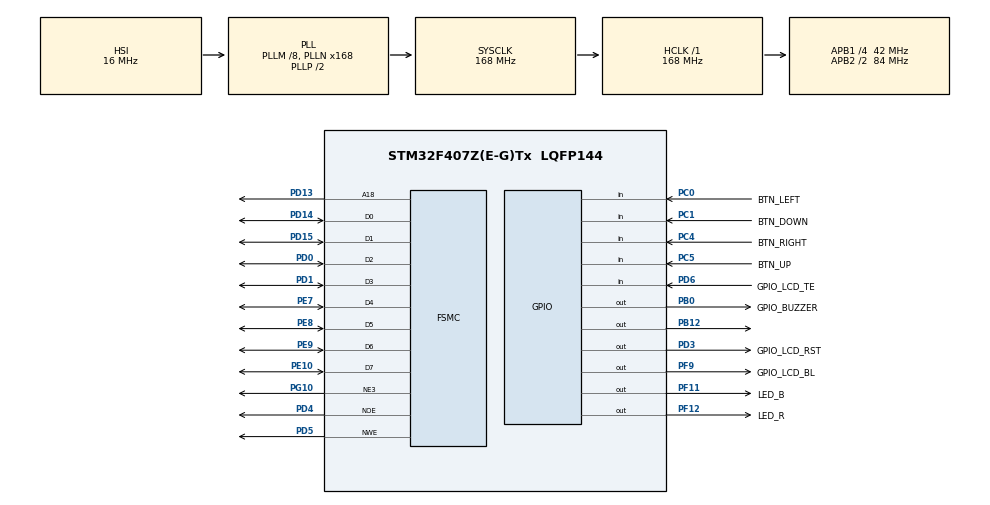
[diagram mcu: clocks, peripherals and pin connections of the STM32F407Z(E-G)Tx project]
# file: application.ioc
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FSMC.BusTurnAroundDuration3=0
FSMC.DataSetupTime3=60
FSMC.ExtendedAddressSetupTime3=9
FSMC.ExtendedBusTurnAroundDuration3=0
FSMC.ExtendedDataSetupTime3=8
FSMC.ExtendedMode3=FSMC_EXTENDED_MODE_ENABLE
Mcu.Family=STM32F4
Mcu.Name=STM32F407Z(E-G)Tx
Mcu.Package=LQFP144
NVIC.PriorityGroup=NVIC_PRIORITYGROUP_4
PA13.Mode=Serial_Wire
PA13.Signal=SYS_JTMS-SWDIO
PA14.Mode=Serial_Wire
PA14.Signal=SYS_JTCK-SWCLK
PB0.GPIO_Label=GPIO_BUZZER
PB0.Signal=GPIO_Output
PB12.GPIO_ModeDefaultOutputPP=GPIO_MODE_OUTPUT_PP
PB12.GPIO_Speed=GPIO_SPEED_FREQ_HIGH
PB12.PinState=GPIO_PIN_SET
PB12.Signal=GPIO_Output
PC0.GPIO_Label=BTN_LEFT
PC0.GPIO_PuPd=GPIO_PULLUP
PC0.Signal=GPIO_Input
PC1.GPIO_Label=BTN_DOWN
PC1.GPIO_PuPd=GPIO_PULLUP
PC1.Signal=GPIO_Input
PC14-OSC32_IN.Mode=LSE-External-Oscillator
PC14-OSC32_IN.Signal=RCC_OSC32_IN
PC15-OSC32_OUT.Mode=LSE-External-Oscillator
PC15-OSC32_OUT.Signal=RCC_OSC32_OUT
PC4.GPIO_Label=BTN_RIGHT
PC4.GPIO_PuPd=GPIO_PULLUP
PC4.Signal=GPIO_Input
PC5.GPIO_Label=BTN_UP
PC5.GPIO_PuPd=GPIO_PULLUP
PC5.Signal=GPIO_Input
PD0.Signal=FSMC_D2_DA2
PD1.Signal=FSMC_D3_DA3
PD13.Signal=FSMC_A18
PD14.Signal=FSMC_D0_DA0
PD15.Signal=FSMC_D1_DA1
PD3.GPIO_Label=GPIO_LCD_RST
PD3.Signal=GPIO_Output
PD4.Signal=FSMC_NOE
PD5.Signal=FSMC_NWE
PD6.GPIO_Label=GPIO_LCD_TE
PD6.Signal=GPIO_Input
PE10.Signal=FSMC_D7_DA7
PE7.Signal=FSMC_D4_DA4
PE8.Signal=FSMC_D5_DA5
PE9.Signal=FSMC_D6_DA6
PF11.GPIO_Label=LED_B
PF11.Signal=GPIO_Output
PF12.GPIO_Label=LED_R
PF12.Signal=GPIO_Output
PF9.GPIO_Label=GPIO_LCD_BL
PF9.Signal=GPIO_Output
PG10.Mode=NorPsramChipSelect3_3
PG10.Signal=FSMC_NE3
PH0-OSC_IN.Mode=HSE-External-Oscillator
PH0-OSC_IN.Signal=RCC_OSC_IN
PH1-OSC_OUT.Mode=HSE-External-Oscillator
PH1-OSC_OUT.Signal=RCC_OSC_OUT
ProjectManager.HeapSize=0x2000
ProjectManager.StackSize=0x1200
ProjectManager.TargetToolchain=CMake
RCC.48MHZClocksFreq_Value=84000000
RCC.AHBFreq_Value=168000000
RCC.APB1CLKDivider=RCC_HCLK_DIV4
RCC.APB1Freq_Value=42000000
RCC.APB1TimFreq_Value=84000000
RCC.APB2CLKDivider=RCC_HCLK_DIV2
RCC.APB2Freq_Value=84000000
RCC.APB2TimFreq_Value=168000000
RCC.CortexFreq_Value=168000000
RCC.HCLKFreq_Value=168000000
RCC.HSE_VALUE=8000000
RCC.HSI_VALUE=16000000
RCC.PLLM=8
RCC.PLLN=168
RCC.SYSCLKFreq_VALUE=168000000
RCC.SYSCLKSource=RCC_SYSCLKSOURCE_PLLCLK
RCC.VCOOutputFreq_Value=336000000
SH.FSMC_A18.0=FSMC_A18,A18_3
SH.FSMC_D0_DA0.0=FSMC_D0,8b-d3
SH.FSMC_D1_DA1.0=FSMC_D1,8b-d3
SH.FSMC_D2_DA2.0=FSMC_D2,8b-d3
SH.FSMC_D3_DA3.0=FSMC_D3,8b-d3
SH.FSMC_D4_DA4.0=FSMC_D4,8b-d3
SH.FSMC_D5_DA5.0=FSMC_D5,8b-d3
SH.FSMC_D6_DA6.0=FSMC_D6,8b-d3
SH.FSMC_D7_DA7.0=FSMC_D7,8b-d3
SH.FSMC_NOE.0=FSMC_NOE,Lcd3
SH.FSMC_NWE.0=FSMC_NWE,Lcd3
TIM2.AutoReloadPreload=TIM_AUTORELOAD_PRELOAD_ENABLE
TIM2.Period=\ 0xFFFFFFFF
TIM2.Prescaler=83
VP_TIM2_VS_ClockSourceINT.Mode=Internal
board=custom

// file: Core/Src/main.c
/* USER CODE BEGIN Header */
/**
 ******************************************************************************
 * @file           : main.c
 * @brief          : Main program body
 ******************************************************************************
 * @attention
 *
 * Copyright (c) 2025 STMicroelectronics.
 * All rights reserved.
 *
 * This software is licensed under terms that can be found in the LICENSE file
 * in the root directory of this software component.
 * If no LICENSE file comes with this software, it is provided AS-IS.
 *
 ******************************************************************************
 */
/* USER CODE END Header */
#include "main.h"
#include "stm32f4xx_hal.h"
#include "stm32f4xx_hal_gpio.h"

/* USER CODE BEGIN Includes */
#include <stdbool.h>
#include <stdint.h>
/* USER CODE END Includes */

/* USER CODE BEGIN PD */
#define AMBULANCE_ALERT_TYPE 0
#define ELECTRONIC_BIKE_ALERT_TYPE 1

/* USER CODE END PD */

TIM_HandleTypeDef htim2;

SRAM_HandleTypeDef hsram3;

void SystemClock_Config(void);
static void MX_GPIO_Init(void);
static void MX_FSMC_Init(void);
static void MX_TIM2_Init(void);

/* USER CODE BEGIN 0 */

static inline bool CredibleKeyState(GPIO_TypeDef *GPIOx, uint16_t GPIO_PIN,
                                    GPIO_PinState state) {
  if (HAL_GPIO_ReadPin(GPIOx, GPIO_PIN) == state) {
    HAL_Delay(1);
    return HAL_GPIO_ReadPin(GPIOx, GPIO_PIN) == state;
  }
  return false;
}
static inline void ambulance_alert(void) {
  uint16_t i = 5000;

  while (i--) {
    HAL_GPIO_WritePin(GPIO_BUZZER_GPIO_Port, GPIO_BUZZER_Pin, GPIO_PIN_SET);
    int j = 0;
    while (j++ < i)
      continue;
    HAL_GPIO_WritePin(GPIO_BUZZER_GPIO_Port, GPIO_BUZZER_Pin, GPIO_PIN_RESET);
    while (j-- > 0)
      continue;
    i--;
  }
}
static inline void electronic_bike_alert(void) {
  uint16_t i = 3000;

  while (i--) {
    HAL_GPIO_WritePin(GPIO_BUZZER_GPIO_Port, GPIO_BUZZER_Pin, GPIO_PIN_SET);
    int j = 0;
    while (j++ < i)
      continue;
    HAL_GPIO_WritePin(GPIO_BUZZER_GPIO_Port, GPIO_BUZZER_Pin, GPIO_PIN_RESET);
    while (j-- > 0)
      continue;
    i--;
  }
}

static void buzzer(uint8_t type, uint16_t seconds) {
  uint32_t i = HAL_GetTick() + seconds * 1000;
  while (HAL_GetTick() < i)
    switch (type) {
    case 0:
      ambulance_alert();
      break;
    case 1:
      electronic_bike_alert();
      break;
    }

  HAL_GPIO_WritePin(GPIO_BUZZER_GPIO_Port, GPIO_BUZZER_Pin, GPIO_PIN_RESET);
}
/* USER CODE END 0 */

int main(void) {

  /* MCU Configuration--------------------------------------------------------*/

  /* Reset of all peripherals, Initializes the Flash interface and the Systick.
   */
  HAL_Init();

  /* Configure the system clock */
  SystemClock_Config();

  /* Initialize all configured peripherals */
  MX_GPIO_Init();
  MX_FSMC_Init();
  MX_TIM2_Init();

  /* Infinite loop */
  /* USER CODE BEGIN WHILE */
  while (1) {
    static uint8_t i = 5;
    if (CredibleKeyState(BTN_LEFT_GPIO_Port, BTN_LEFT_Pin, GPIO_PIN_RESET)) {
      if (i != 0)
        HAL_GPIO_TogglePin(LED_R_GPIO_Port, LED_R_Pin);
      i = 0;
    } else if (CredibleKeyState(BTN_RIGHT_GPIO_Port, BTN_RIGHT_Pin,
                                GPIO_PIN_RESET)) {
      if (i != 1)
        HAL_GPIO_TogglePin(LED_B_GPIO_Port, LED_B_Pin);
      i = 1;
    } else if (CredibleKeyState(BTN_UP_GPIO_Port, BTN_UP_Pin, GPIO_PIN_RESET)) {
      if (i != 2)
        buzzer(AMBULANCE_ALERT_TYPE, 5);
      i = 2;
    } else if (CredibleKeyState(BTN_DOWN_GPIO_Port, BTN_DOWN_Pin,
                                GPIO_PIN_RESET)) {
      if (i != 3)
        buzzer(ELECTRONIC_BIKE_ALERT_TYPE, 5);
      i = 3;
    } else
      i = 5;
    /* USER CODE END WHILE */

  }
}

void SystemClock_Config(void) {
  RCC_OscInitTypeDef RCC_OscInitStruct = {0};
  RCC_ClkInitTypeDef RCC_ClkInitStruct = {0};

  /** Configure the main internal regulator output voltage
   */
  __HAL_RCC_PWR_CLK_ENABLE();
  __HAL_PWR_VOLTAGESCALING_CONFIG(PWR_REGULATOR_VOLTAGE_SCALE1);

  /** Initializes the RCC Oscillators according to the specified parameters
   * in the RCC_OscInitTypeDef structure.
   */
  RCC_OscInitStruct.OscillatorType = RCC_OSCILLATORTYPE_HSI;
  RCC_OscInitStruct.HSIState = RCC_HSI_ON;
  RCC_OscInitStruct.HSICalibrationValue = RCC_HSICALIBRATION_DEFAULT;
  RCC_OscInitStruct.PLL.PLLState = RCC_PLL_ON;
  RCC_OscInitStruct.PLL.PLLSource = RCC_PLLSOURCE_HSI;
  RCC_OscInitStruct.PLL.PLLM = 8;
  RCC_OscInitStruct.PLL.PLLN = 168;
  RCC_OscInitStruct.PLL.PLLP = RCC_PLLP_DIV2;
  RCC_OscInitStruct.PLL.PLLQ = 4;
  if (HAL_RCC_OscConfig(&RCC_OscInitStruct) != HAL_OK) {
    Error_Handler();
  }

  /** Initializes the CPU, AHB and APB buses clocks
   */
  RCC_ClkInitStruct.ClockType = RCC_CLOCKTYPE_HCLK | RCC_CLOCKTYPE_SYSCLK |
                                RCC_CLOCKTYPE_PCLK1 | RCC_CLOCKTYPE_PCLK2;
  RCC_ClkInitStruct.SYSCLKSource = RCC_SYSCLKSOURCE_PLLCLK;
  RCC_ClkInitStruct.AHBCLKDivider = RCC_SYSCLK_DIV1;
  RCC_ClkInitStruct.APB1CLKDivider = RCC_HCLK_DIV4;
  RCC_ClkInitStruct.APB2CLKDivider = RCC_HCLK_DIV2;

  if (HAL_RCC_ClockConfig(&RCC_ClkInitStruct, FLASH_LATENCY_5) != HAL_OK) {
    Error_Handler();
  }
}

static void MX_TIM2_Init(void) {

  TIM_ClockConfigTypeDef sClockSourceConfig = {0};
  TIM_MasterConfigTypeDef sMasterConfig = {0};

  htim2.Instance = TIM2;
  htim2.Init.Prescaler = 83;
  htim2.Init.CounterMode = TIM_COUNTERMODE_UP;
  htim2.Init.Period = 0xFFFFFFFF;
  htim2.Init.ClockDivision = TIM_CLOCKDIVISION_DIV1;
  htim2.Init.AutoReloadPreload = TIM_AUTORELOAD_PRELOAD_ENABLE;
  if (HAL_TIM_Base_Init(&htim2) != HAL_OK) {
    Error_Handler();
  }
  sClockSourceConfig.ClockSource = TIM_CLOCKSOURCE_INTERNAL;
  if (HAL_TIM_ConfigClockSource(&htim2, &sClockSourceConfig) != HAL_OK) {
    Error_Handler();
  }
  sMasterConfig.MasterOutputTrigger = TIM_TRGO_RESET;
  sMasterConfig.MasterSlaveMode = TIM_MASTERSLAVEMODE_DISABLE;
  if (HAL_TIMEx_MasterConfigSynchronization(&htim2, &sMasterConfig) != HAL_OK) {
    Error_Handler();
  }
}

static void MX_GPIO_Init(void) {
  GPIO_InitTypeDef GPIO_InitStruct = {0};

  /* GPIO Ports Clock Enable */
  __HAL_RCC_GPIOC_CLK_ENABLE();
  __HAL_RCC_GPIOF_CLK_ENABLE();
  __HAL_RCC_GPIOH_CLK_ENABLE();
  __HAL_RCC_GPIOB_CLK_ENABLE();
  __HAL_RCC_GPIOE_CLK_ENABLE();
  __HAL_RCC_GPIOD_CLK_ENABLE();
  __HAL_RCC_GPIOA_CLK_ENABLE();
  __HAL_RCC_GPIOG_CLK_ENABLE();

  /*Configure GPIO pin Output Level */
  HAL_GPIO_WritePin(GPIOF, GPIO_LCD_BL_Pin | LED_B_Pin | LED_R_Pin,
                    GPIO_PIN_RESET);

  /*Configure GPIO pin Output Level */
  HAL_GPIO_WritePin(GPIO_BUZZER_GPIO_Port, GPIO_BUZZER_Pin, GPIO_PIN_RESET);

  /*Configure GPIO pin Output Level */
  HAL_GPIO_WritePin(GPIOB, GPIO_PIN_12, GPIO_PIN_SET);

  /*Configure GPIO pin Output Level */
  HAL_GPIO_WritePin(GPIO_LCD_RST_GPIO_Port, GPIO_LCD_RST_Pin, GPIO_PIN_RESET);

  /*Configure GPIO pins : GPIO_LCD_BL_Pin LED_B_Pin LED_R_Pin */
  GPIO_InitStruct.Pin = GPIO_LCD_BL_Pin | LED_B_Pin | LED_R_Pin;
  GPIO_InitStruct.Mode = GPIO_MODE_OUTPUT_PP;
  GPIO_InitStruct.Pull = GPIO_NOPULL;
  GPIO_InitStruct.Speed = GPIO_SPEED_FREQ_LOW;
  HAL_GPIO_Init(GPIOF, &GPIO_InitStruct);

  /*Configure GPIO pins : BTN_LEFT_Pin BTN_DOWN_Pin BTN_RIGHT_Pin BTN_UP_Pin */
  GPIO_InitStruct.Pin =
      BTN_LEFT_Pin | BTN_DOWN_Pin | BTN_RIGHT_Pin | BTN_UP_Pin;
  GPIO_InitStruct.Mode = GPIO_MODE_INPUT;
  GPIO_InitStruct.Pull = GPIO_PULLUP;
  HAL_GPIO_Init(GPIOC, &GPIO_InitStruct);

  /*Configure GPIO pin : GPIO_BUZZER_Pin */
  GPIO_InitStruct.Pin = GPIO_BUZZER_Pin;
  GPIO_InitStruct.Mode = GPIO_MODE_OUTPUT_PP;
  GPIO_InitStruct.Pull = GPIO_NOPULL;
  GPIO_InitStruct.Speed = GPIO_SPEED_FREQ_LOW;
  HAL_GPIO_Init(GPIO_BUZZER_GPIO_Port, &GPIO_InitStruct);

  /*Configure GPIO pin : PB12 */
  GPIO_InitStruct.Pin = GPIO_PIN_12;
  GPIO_InitStruct.Mode = GPIO_MODE_OUTPUT_PP;
  GPIO_InitStruct.Pull = GPIO_NOPULL;
  GPIO_InitStruct.Speed = GPIO_SPEED_FREQ_HIGH;
  HAL_GPIO_Init(GPIOB, &GPIO_InitStruct);

  /*Configure GPIO pin : GPIO_LCD_RST_Pin */
  GPIO_InitStruct.Pin = GPIO_LCD_RST_Pin;
  GPIO_InitStruct.Mode = GPIO_MODE_OUTPUT_PP;
  GPIO_InitStruct.Pull = GPIO_NOPULL;
  GPIO_InitStruct.Speed = GPIO_SPEED_FREQ_LOW;
  HAL_GPIO_Init(GPIO_LCD_RST_GPIO_Port, &GPIO_InitStruct);

  /*Configure GPIO pin : GPIO_LCD_TE_Pin */
  GPIO_InitStruct.Pin = GPIO_LCD_TE_Pin;
  GPIO_InitStruct.Mode = GPIO_MODE_INPUT;
  GPIO_InitStruct.Pull = GPIO_NOPULL;
  HAL_GPIO_Init(GPIO_LCD_TE_GPIO_Port, &GPIO_InitStruct);

}

/* FSMC initialization function */
static void MX_FSMC_Init(void) {

  FSMC_NORSRAM_TimingTypeDef Timing = {0};
  FSMC_NORSRAM_TimingTypeDef ExtTiming = {0};

  /** Perform the SRAM3 memory initialization sequence
   */
  hsram3.Instance = FSMC_NORSRAM_DEVICE;
  hsram3.Extended = FSMC_NORSRAM_EXTENDED_DEVICE;
  /* hsram3.Init */
  hsram3.Init.NSBank = FSMC_NORSRAM_BANK3;
  hsram3.Init.DataAddressMux = FSMC_DATA_ADDRESS_MUX_DISABLE;
  hsram3.Init.MemoryType = FSMC_MEMORY_TYPE_SRAM;
  hsram3.Init.MemoryDataWidth = FSMC_NORSRAM_MEM_BUS_WIDTH_8;
  hsram3.Init.BurstAccessMode = FSMC_BURST_ACCESS_MODE_DISABLE;
  hsram3.Init.WaitSignalPolarity = FSMC_WAIT_SIGNAL_POLARITY_LOW;
  hsram3.Init.WrapMode = FSMC_WRAP_MODE_DISABLE;
  hsram3.Init.WaitSignalActive = FSMC_WAIT_TIMING_BEFORE_WS;
  hsram3.Init.WriteOperation = FSMC_WRITE_OPERATION_ENABLE;
  hsram3.Init.WaitSignal = FSMC_WAIT_SIGNAL_DISABLE;
  hsram3.Init.ExtendedMode = FSMC_EXTENDED_MODE_ENABLE;
  hsram3.Init.AsynchronousWait = FSMC_ASYNCHRONOUS_WAIT_DISABLE;
  hsram3.Init.WriteBurst = FSMC_WRITE_BURST_DISABLE;
  hsram3.Init.PageSize = FSMC_PAGE_SIZE_NONE;
  /* Timing */
  Timing.AddressSetupTime = 15;
  Timing.AddressHoldTime = 15;
  Timing.DataSetupTime = 60;
  Timing.BusTurnAroundDuration = 0;
  Timing.CLKDivision = 16;
  Timing.DataLatency = 17;
  Timing.AccessMode = FSMC_ACCESS_MODE_A;
  /* ExtTiming */
  ExtTiming.AddressSetupTime = 9;
  ExtTiming.AddressHoldTime = 15;
  ExtTiming.DataSetupTime = 8;
  ExtTiming.BusTurnAroundDuration = 0;
  ExtTiming.CLKDivision = 16;
  ExtTiming.DataLatency = 17;
  ExtTiming.AccessMode = FSMC_ACCESS_MODE_A;

  if (HAL_SRAM_Init(&hsram3, &Timing, &ExtTiming) != HAL_OK) {
    Error_Handler();
  }

}

void Error_Handler(void) {
  __disable_irq();
  while (1) {
  }
}

#ifdef USE_FULL_ASSERT
/**
 * @brief  Reports the name of the source file and the source line number
 *         where the assert_param error has occurred.
 * @param  file: pointer to the source file name
 * @param  line: assert_param error line source number
 * @retval None
 */
void assert_failed(uint8_t *file, uint32_t line) {
  /* USER CODE BEGIN 6 */
  /* User can add his own implementation to report the file name and line
     number, ex: printf("Wrong parameters value: file %s on line %d\r\n", file,
     line) */
  /* USER CODE END 6 */
}
#endif /* USE_FULL_ASSERT */
